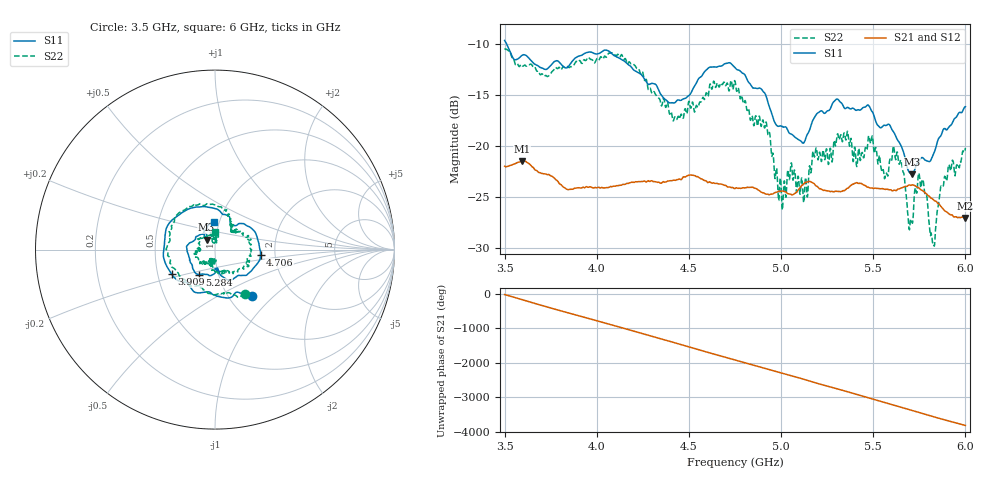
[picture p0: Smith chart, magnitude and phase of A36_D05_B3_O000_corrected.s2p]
! Created with skrf 1.9.0 (http://scikit-rf.org).
# Hz S RI R 50.0
!freq ReS11 ImS11 ReS21 ImS21 ReS12 ImS12 ReS22 ImS22
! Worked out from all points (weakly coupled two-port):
!   1601 points, 3.5 GHz to 6 GHz, reference 50 ohm
!   highest |S21| = -21.43 dB at 3.594 GHz (marker M1); lowest = -27.0 dB at 5.998 GHz (marker M2)
!   lowest |S11| = -22.8 dB at 5.709 GHz (marker M3), VSWR 1.16, Z = 45.3 + j5.07 ohm
!   |S11| at or under -10 dB: 3.512 GHz to end of sweep
!   |S22| runs from -29.8 to -10.4 dB; largest |S21 - S12| = 0.00083
!   S11 on the Smith chart (normalised r, x): 3.5 GHz: 1.28, -0.74; 3.909 GHz: 0.59, -0.17; 4.706 GHz: 1.68, -0.10; 5.284 GHz: 0.81, -0.23; 6 GHz: 0.94, +0.30
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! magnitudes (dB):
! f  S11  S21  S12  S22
! 3.5 GHz  -9.6  -22.0  -21.9  -10.4
! 3.594 GHz  -11.1  -21.4  -21.4  -12.1
! 3.909 GHz  -11.1  -24.1  -24.0  -11.6
! 3.917 GHz  -11.1  -24.1  -24.1  -11.9
! 4.127 GHz  -11.4  -23.8  -23.8  -11.2
! 4.334 GHz  -14.4  -23.5  -23.5  -15.3
! 4.425 GHz  -15.7  -23.3  -23.3  -17.1
! 4.706 GHz  -11.9  -23.9  -23.9  -13.8
! 4.75 GHz  -12.3  -24.1  -24.1  -13.6
! 4.928 GHz  -15.6  -24.7  -24.7  -18.8
! 4.997 GHz  -18.0  -24.4  -24.4  -23.1
! 5.167 GHz  -17.7  -23.5  -23.5  -21.6
! 5.284 GHz  -15.7  -24.5  -24.4  -19.9
! 5.486 GHz  -16.4  -24.1  -24.0  -19.7
! 5.584 GHz  -17.8  -24.3  -24.2  -22.2
! 5.641 GHz  -19.6  -24.2  -24.1  -21.7
! 5.709 GHz  -22.8  -23.8  -23.7  -27.4
! 5.758 GHz  -21.2  -24.3  -24.2  -24.0
! 5.825 GHz  -20.8  -25.2  -25.2  -29.6
! 5.877 GHz  -18.5  -26.1  -26.0  -24.0
! 5.998 GHz  -16.2  -27.0  -26.9  -20.4
! 6 GHz  -16.1  -27.0  -26.9  -20.2
